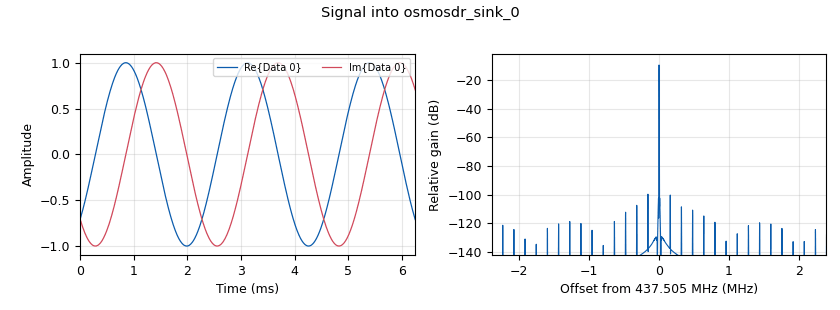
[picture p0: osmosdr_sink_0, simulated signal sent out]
<?xml version='1.0' encoding='utf-8'?>
<?grc format='1' created='3.7.10'?>
<flow_graph>
<block>
<key>options</key>
<param><key>id</key><value>top_block</value></param>
<param><key>generate_options</key><value>qt_gui</value></param>
</block>
<block>
<key>variable</key>
<param><key>id</key><value>input_rate</value></param>
<param><key>value</key><value>160e3</value></param>
</block>
<block>
<key>variable</key>
<param><key>id</key><value>interp</value></param>
<param><key>value</key><value>30</value></param>
</block>
<block>
<key>variable</key>
<param><key>id</key><value>samp_rate</value></param>
<param><key>value</key><value>interp*input_rate</value></param>
</block>
<block>
<key>variable_qtgui_range</key>
<param><key>id</key><value>variable_qtgui_range_0</value></param>
<param><key>value</key><value>0</value></param>
<param><key>label</key><value>Output Gain</value></param>
<param><key>orient</key><value>Qt.Horizontal</value></param>
<param><key>start</key><value>0</value></param>
<param><key>step</key><value>1</value></param>
<param><key>stop</key><value>42</value></param>
<param><key>rangeType</key><value>int</value></param>
</block>
<block>
<key>analog_sig_source_x</key>
<param><key>id</key><value>analog_sig_source_x_0</value></param>
<param><key>amp</key><value>1</value></param>
<param><key>freq</key><value>440</value></param>
<param><key>offset</key><value>0</value></param>
<param><key>type</key><value>complex</value></param>
<param><key>samp_rate</key><value>160000</value></param>
<param><key>waveform</key><value>analog.GR_COS_WAVE</value></param>
</block>
<block>
<key>osmosdr_sink</key>
<param><key>id</key><value>osmosdr_sink_0</value></param>
<param><key>bb_gain0</key><value>0</value></param>
<param><key>freq0</key><value>437.505e6</value></param>
<param><key>if_gain0</key><value>variable_qtgui_range_0</value></param>
<param><key>gain0</key><value>14</value></param>
<param><key>args</key><value>hackrf=995d5f</value></param>
<param><key>type</key><value>fc32</value></param>
<param><key>sample_rate</key><value>samp_rate</value></param>
<param><key>sync</key><value></value></param>
</block>
<block>
<key>rational_resampler_xxx</key>
<param><key>id</key><value>rational_resampler_xxx_0</value></param>
<param><key>decim</key><value>1</value></param>
<param><key>interp</key><value>interp</value></param>
<param><key>taps</key><value></value></param>
<param><key>type</key><value>ccc</value></param>
</block>
<connection><source_block_id>analog_sig_source_x_0</source_block_id><sink_block_id>rational_resampler_xxx_0</sink_block_id><source_key>0</source_key><sink_key>0</sink_key></connection>
<connection><source_block_id>rational_resampler_xxx_0</source_block_id><sink_block_id>osmosdr_sink_0</sink_block_id><source_key>0</source_key><sink_key>0</sink_key></connection>
</flow_graph>
